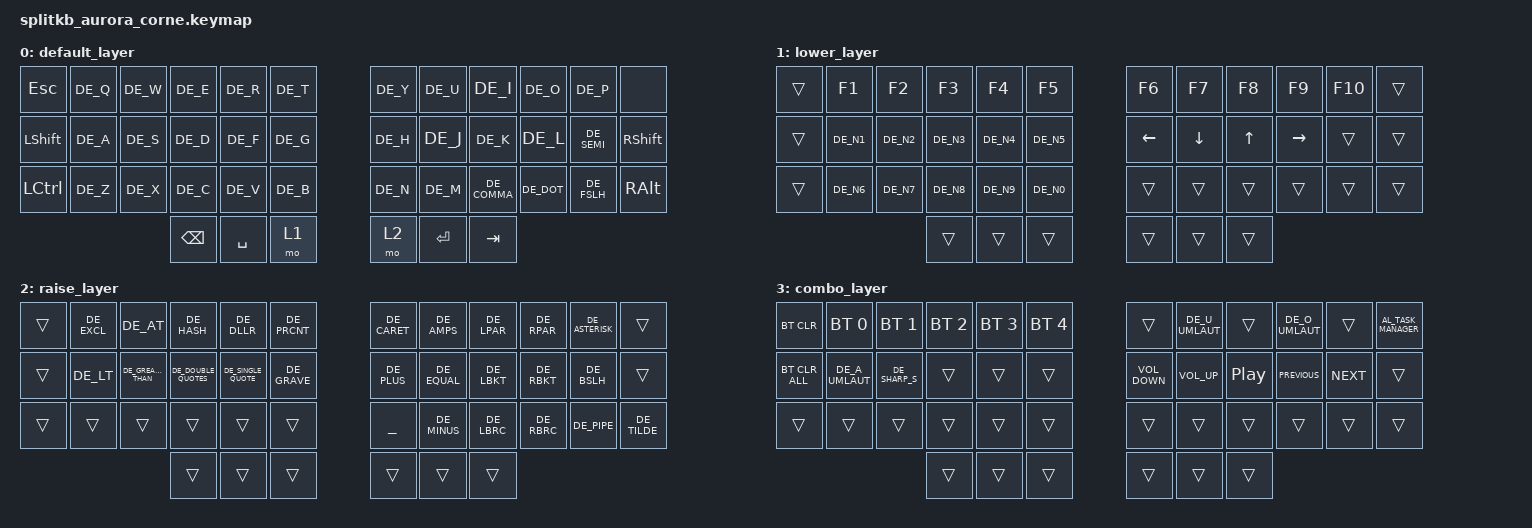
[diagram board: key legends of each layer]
/*
* Copyright (c) 2020 The ZMK Contributors
*
* SPDX-License-Identifier: MIT
*/

#include "keys_de.h"
#include <behaviors.dtsi>
#include <dt-bindings/zmk/bt.h>
#include <dt-bindings/zmk/keys.h>

/ {
    keymap {
        compatible = "zmk,keymap";

        default_layer {
            bindings = <
&kp ESCAPE        &kp DE_Q  &kp DE_W  &kp DE_E       &kp DE_R   &kp DE_T    &kp DE_Y  &kp DE_U   &kp DE_I      &kp DE_O    &kp DE_P     &none
&kp LSHFT         &kp DE_A  &kp DE_S  &kp DE_D       &kp DE_F   &kp DE_G    &kp DE_H  &kp DE_J   &kp DE_K      &kp DE_L    &kp DE_SEMI  &kp RIGHT_SHIFT
&kp LEFT_CONTROL  &kp DE_Z  &kp DE_X  &kp DE_C       &kp DE_V   &kp DE_B    &kp DE_N  &kp DE_M   &kp DE_COMMA  &kp DE_DOT  &kp DE_FSLH  &kp RIGHT_ALT
                                      &kp BACKSPACE  &kp SPACE  &mo 1       &mo 2     &kp ENTER  &kp TAB
            >;
        };

        lower_layer {
            bindings = <
&trans  &kp F1     &kp F2     &kp F3     &kp F4     &kp F5       &kp F6          &kp F7    &kp F8  &kp F9     &kp F10  &trans
&trans  &kp DE_N1  &kp DE_N2  &kp DE_N3  &kp DE_N4  &kp DE_N5    &kp LEFT_ARROW  &kp DOWN  &kp UP  &kp RIGHT  &trans   &trans
&trans  &kp DE_N6  &kp DE_N7  &kp DE_N8  &kp DE_N9  &kp DE_N0    &trans          &trans    &trans  &trans     &trans   &trans
                              &trans     &trans     &trans       &trans          &trans    &trans
            >;
        };

        raise_layer {
            bindings = <
&trans  &kp DE_EXCL  &kp DE_AT            &kp DE_HASH           &kp DE_DLLR          &kp DE_PRCNT    &kp DE_CARET  &kp DE_AMPS   &kp DE_LPAR  &kp DE_RPAR  &kp DE_ASTERISK  &trans
&trans  &kp DE_LT    &kp DE_GREATER_THAN  &kp DE_DOUBLE_QUOTES  &kp DE_SINGLE_QUOTE  &kp DE_GRAVE    &kp DE_PLUS   &kp DE_EQUAL  &kp DE_LBKT  &kp DE_RBKT  &kp DE_BSLH      &trans
&trans  &trans       &trans               &trans                &trans               &trans          &kp UNDER     &kp DE_MINUS  &kp DE_LBRC  &kp DE_RBRC  &kp DE_PIPE      &kp DE_TILDE
                                          &trans                &trans               &trans          &trans        &trans        &trans
            >;
        };

        combo_layer {
            bindings = <
&bt BT_CLR      &bt BT_SEL 0     &bt BT_SEL 1    &bt BT_SEL 2  &bt BT_SEL 3  &bt BT_SEL 4    &trans             &kp DE_U_UMLAUT  &trans            &kp DE_O_UMLAUT  &trans      &kp C_AL_TASK_MANAGER
&bt BT_CLR_ALL  &kp DE_A_UMLAUT  &kp DE_SHARP_S  &trans        &trans        &trans          &kp C_VOLUME_DOWN  &kp C_VOLUME_UP  &kp C_PLAY_PAUSE  &kp C_PREVIOUS   &kp C_NEXT  &trans
&trans          &trans           &trans          &trans        &trans        &trans          &trans             &trans           &trans            &trans           &trans      &trans
                                                 &trans        &trans        &trans          &trans             &trans           &trans
            >;
        };
    };

    conditional_layers {
        compatible = "zmk,conditional-layers";

        access_combo_layer {
            if-layers = <1 2>;
            then-layer = <3>;
        };
    };
};
